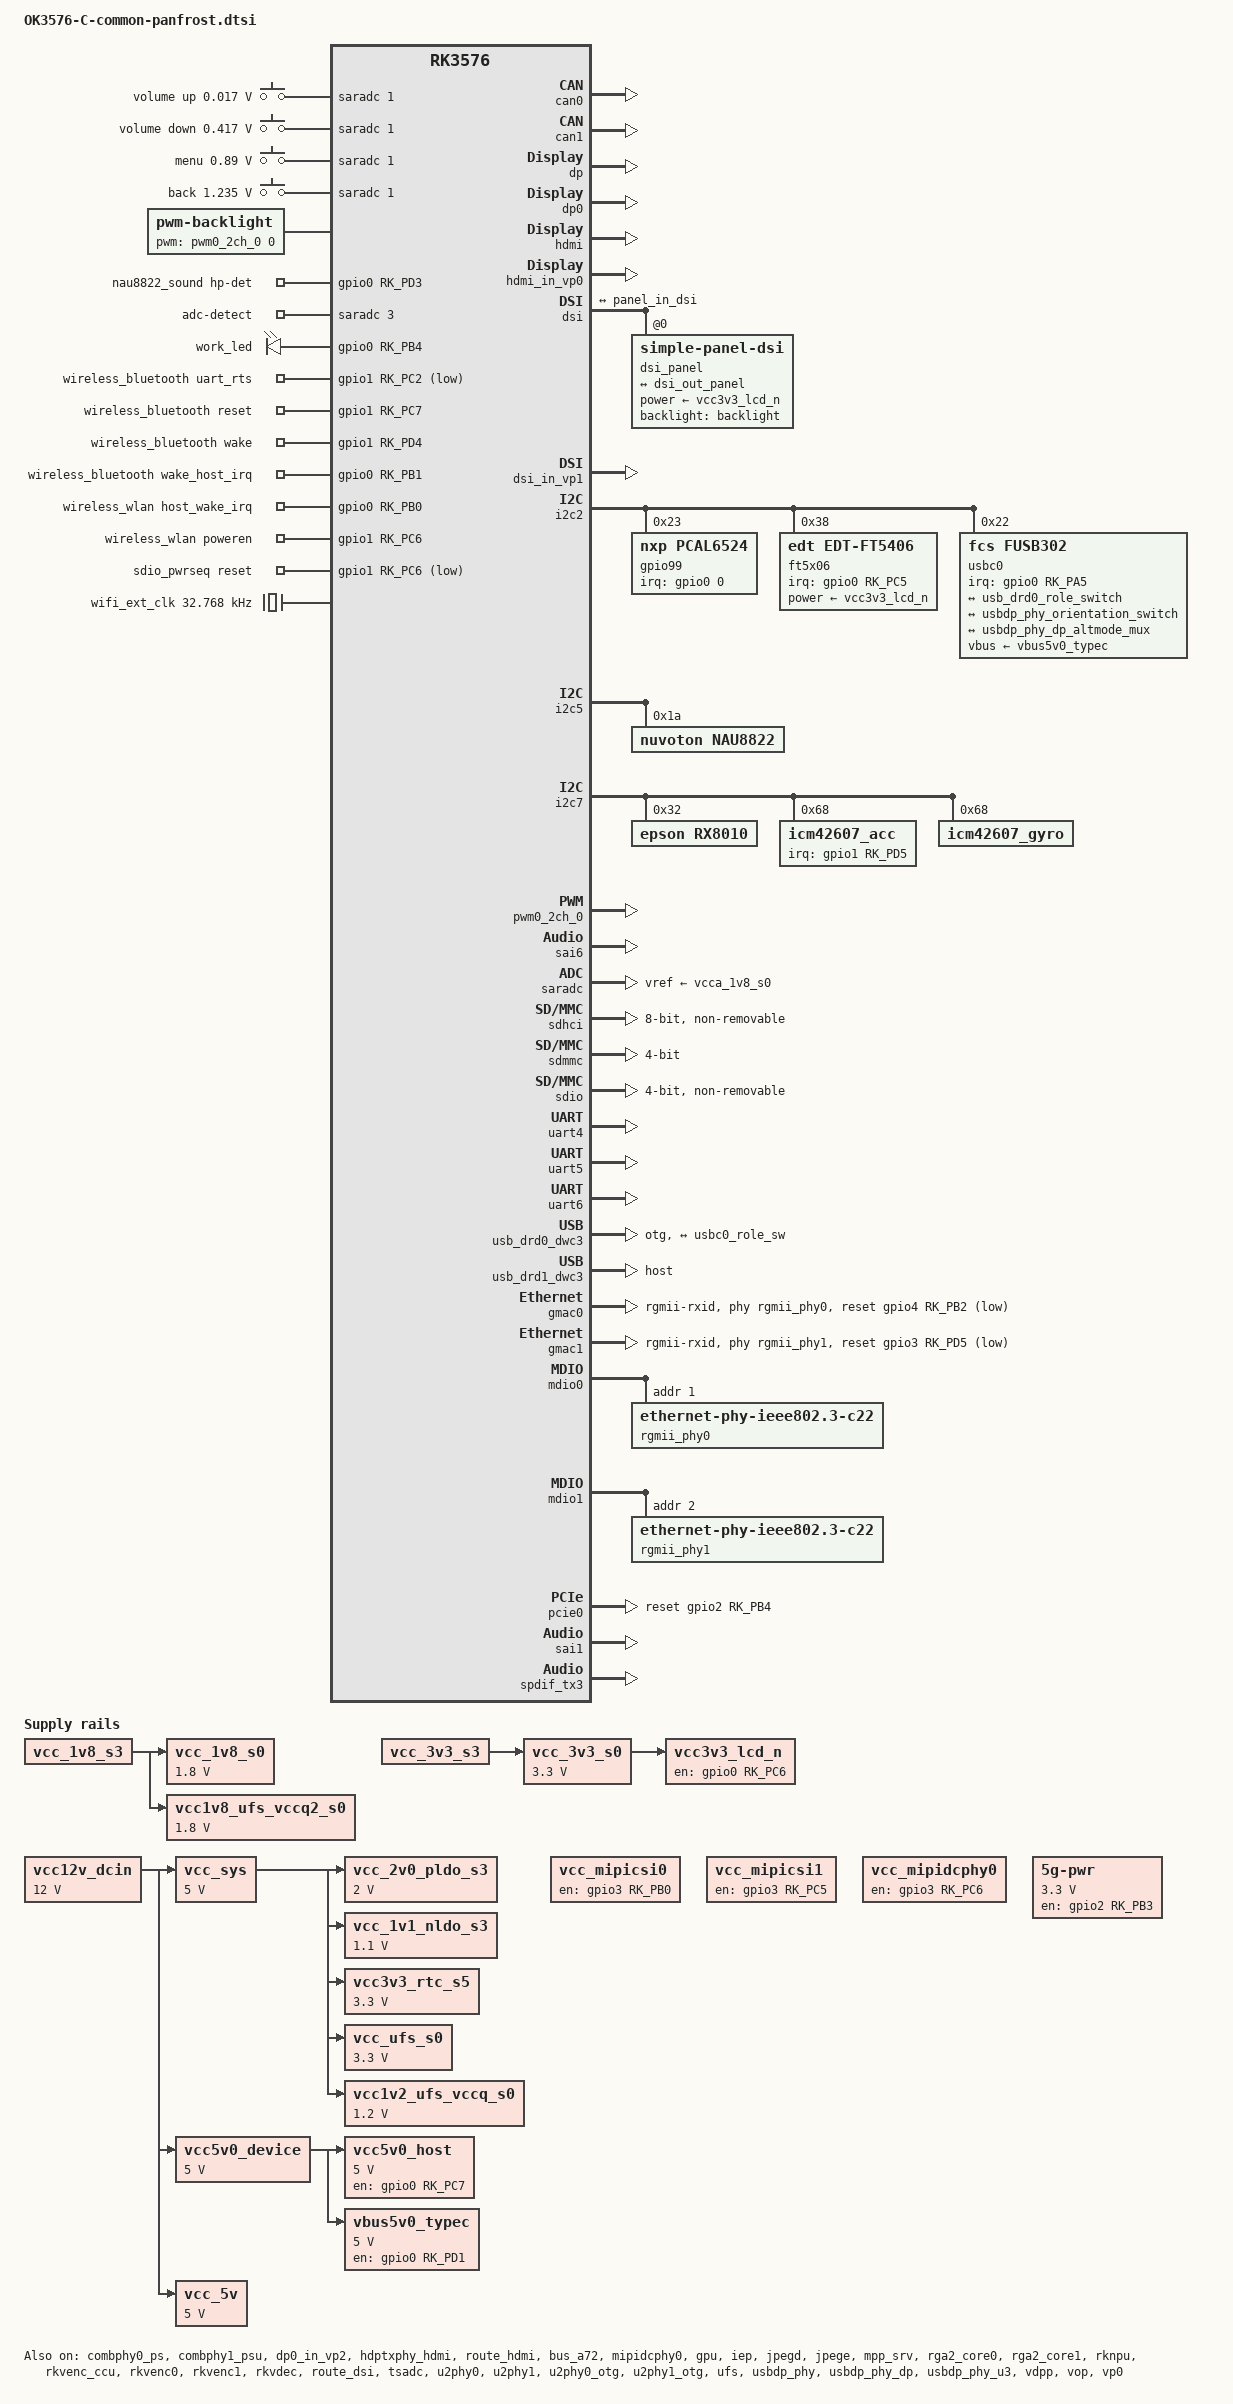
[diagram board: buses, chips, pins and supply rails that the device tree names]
// SPDX-License-Identifier: (GPL-2.0+ OR MIT)
/*
 * Copyright (c) 2024 Rockchip Electronics Co., Ltd.
 *
 */

#include <dt-bindings/usb/pd.h>
#include "rk3576_panfrost.dtsi"
#include <dt-bindings/gpio/gpio.h>
#include <dt-bindings/pwm/pwm.h>
#include <dt-bindings/pinctrl/rockchip.h>
#include <dt-bindings/input/rk-input.h>
#include <dt-bindings/display/drm_mipi_dsi.h>
#include <dt-bindings/display/rockchip_vop.h>
#include <dt-bindings/sensor-dev.h>
#include "rk3576-rk806.dtsi"

/ {
	adc_keys: adc-keys {
		compatible = "adc-keys";
		io-channels = <&saradc 1>;
		io-channel-names = "buttons";
		keyup-threshold-microvolt = <1800000>;
		poll-interval = <100>;

		vol-up-key {
			label = "volume up";
			linux,code = <KEY_VOLUMEUP>;
			press-threshold-microvolt = <17000>;
		};

		vol-down-key {
			label = "volume down";
			linux,code = <KEY_VOLUMEDOWN>;
			press-threshold-microvolt = <417000>;
		};

		menu-key {
			label = "menu";
			linux,code = <KEY_MENU>;
			press-threshold-microvolt = <890000>;
		};

		back-key {
			label = "back";
			linux,code = <KEY_BACK>;
			press-threshold-microvolt = <1235000>;
		};
	};

	backlight: backlight {
		compatible = "pwm-backlight";
		pwms = <&pwm0_2ch_0 0 25000 0>;
		brightness-levels = <
			  0  20  20  21  21  22  22  23
			 23  24  24  25  25  26  26  27
			 27  28  28  29  29  30  30  31
			 31  32  32  33  33  34  34  35
			 35  36  36  37  37  38  38  39
			 40  41  42  43  44  45  46  47
			 48  49  50  51  52  53  54  55
			 56  57  58  59  60  61  62  63
			 64  65  66  67  68  69  70  71
			 72  73  74  75  76  77  78  79
			 80  81  82  83  84  85  86  87
			 88  89  90  91  92  93  94  95
			 96  97  98  99 100 101 102 103
			104 105 106 107 108 109 110 111
			112 113 114 115 116 117 118 119
			120 121 122 123 124 125 126 127
			128 129 130 131 132 133 134 135
			136 137 138 139 140 141 142 143
			144 145 146 147 148 149 150 151
			152 153 154 155 156 157 158 159
			160 161 162 163 164 165 166 167
			168 169 170 171 172 173 174 175
			176 177 178 179 180 181 182 183
			184 185 186 187 188 189 190 191
			192 193 194 195 196 197 198 199
			200 201 202 203 204 205 206 207
			208 209 210 211 212 213 214 215
			216 217 218 219 220 221 222 223
			224 225 226 227 228 229 230 231
			232 233 234 235 236 237 238 239
			240 241 242 243 244 245 246 247
			248 249 250 251 252 253 254 255
		>;
		default-brightness-level = <200>;
	};

	dp0_sound: dp0-sound {
		status = "disabled";
		compatible = "rockchip,hdmi";
		rockchip,mclk-fs = <512>;
		rockchip,card-name = "rockchip-dp0";
		rockchip,cpu = <&spdif_tx3>;
		rockchip,codec = <&dp0 1>;
		rockchip,jack-det;
	};

	dp1_sound: dp1-sound {
		status = "disabled";
		compatible = "rockchip,hdmi";
		rockchip,mclk-fs = <512>;
		rockchip,card-name = "rockchip-dp1";
		rockchip,cpu = <&spdif_tx3>;
		rockchip,codec = <&dp1 1>;
		rockchip,jack-det;
	};

	dp2_sound: dp2-sound {
		status = "disabled";
		compatible = "rockchip,hdmi";
		rockchip,mclk-fs = <512>;
		rockchip,card-name = "rockchip-dp2";
		rockchip,cpu = <&spdif_tx3>;
		rockchip,codec = <&dp2 1>;
		rockchip,jack-det;
	};

	hdmi_sound: hdmi-sound {
		compatible = "rockchip,hdmi";
		rockchip,mclk-fs = <128>;
		rockchip,card-name = "rockchip-hdmi";
		rockchip,cpu = <&sai6>;
		rockchip,codec = <&hdmi>;
		rockchip,jack-det;
	};

	nau8822_sound: nau8822-sound {
		status = "okay";
		compatible = "rockchip,multicodecs-card";
		rockchip,card-name = "rockchip-nau8822";
		hp-det-gpio = <&gpio0 RK_PD3 GPIO_ACTIVE_HIGH>;
		io-channels = <&saradc 3>;
		io-channel-names = "adc-detect";
		keyup-threshold-microvolt = <1800000>;
		poll-interval = <100>;
		rockchip,format = "i2s";
		rockchip,mclk-fs = <256>;
		rockchip,cpu = <&sai1>;
		rockchip,codec = <&nau8822>;
		rockchip,audio-routing =
			"Headphone", "RHP",
			"Headphone", "LHP",
			"Speaker", "LSPK",
			"Speaker", "RSPK",
			"RMICP", "Main Mic",
			"RMICN", "Main Mic",
			"RMICP", "Headset Mic",
			"RMICN", "Headset Mic",
			"LMICP", "Main Mic",
			"LMICN", "Main Mic",
			"LMICP", "Headset Mic",
			"LMICN", "Headset Mic";
		pinctrl-names = "default";
		pinctrl-0 = <&hp_det>;
		play-pause-key {
			label = "playpause";
			linux,code = <KEY_PLAYPAUSE>;
			press-threshold-microvolt = <2000>;
			poll-interval = <1000>;
		};
	};

	pdmics: dummy-codec {
                status = "disabled";
                compatible = "rockchip,dummy-codec";
                #sound-dai-cells = <0>;
        };

        pdm_mic_array: pdm-mic-array {
                status = "disabled";
                compatible = "simple-audio-card";
                simple-audio-card,name = "rockchip,pdm-mic-array";
                simple-audio-card,cpu {
                        sound-dai = <&pdm1>;
                };
                simple-audio-card,codec {
                        sound-dai = <&pdmics>;
                };
        };

	leds: leds {
		compatible = "gpio-leds";
		work_led: work {
			gpios = <&gpio0 RK_PB4 GPIO_ACTIVE_HIGH>;
			linux,default-trigger = "heartbeat";
		};
	};

	test-power {
		status = "okay";
	};

	vcc12v_dcin: vcc12v-dcin {
		compatible = "regulator-fixed";
		regulator-name = "vcc12v_dcin";
		regulator-always-on;
		regulator-boot-on;
		regulator-min-microvolt = <12000000>;
		regulator-max-microvolt = <12000000>;
	};

	vcc_sys: vcc5v0-sys {
		compatible = "regulator-fixed";
		regulator-name = "vcc_sys";
		regulator-always-on;
		regulator-boot-on;
		regulator-min-microvolt = <5000000>;
		regulator-max-microvolt = <5000000>;
		vin-supply = <&vcc12v_dcin>;
	};

	vcc5v0_device: vcc5v0-device {
		compatible = "regulator-fixed";
		regulator-name = "vcc5v0_device";
		regulator-always-on;
		regulator-boot-on;
		regulator-min-microvolt = <5000000>;
		regulator-max-microvolt = <5000000>;
		vin-supply = <&vcc12v_dcin>;
	};

	vcc_2v0_pldo_s3: vcc-2v0-pldo-s3 {
		compatible = "regulator-fixed";
		regulator-name = "vcc_2v0_pldo_s3";
		regulator-boot-on;
		regulator-always-on;
		regulator-min-microvolt = <2000000>;
		regulator-max-microvolt = <2000000>;
		vin-supply = <&vcc_sys>;
	};

	vcc_1v1_nldo_s3: vcc-1v1-nldo-s3 {
		compatible = "regulator-fixed";
		regulator-name = "vcc_1v1_nldo_s3";
		regulator-boot-on;
		regulator-always-on;
		regulator-min-microvolt = <1100000>;
		regulator-max-microvolt = <1100000>;
		vin-supply = <&vcc_sys>;
	};

	vcc3v3_rtc_s5: vcc3v3-rtc-s5 {
		compatible = "regulator-fixed";
		regulator-name = "vcc3v3_rtc_s5";
		regulator-boot-on;
		regulator-always-on;
		regulator-min-microvolt = <3300000>;
		regulator-max-microvolt = <3300000>;
		vin-supply = <&vcc_sys>;
	};

	vcc_1v8_s0: vcc-1v8-s0 {
                compatible = "regulator-fixed";
                regulator-name = "vcc_1v8_s0";
                regulator-boot-on;
                regulator-always-on;
                regulator-min-microvolt = <1800000>;
                regulator-max-microvolt = <1800000>;
                vin-supply = <&vcc_1v8_s3>;
        };

        vcc_3v3_s0: vcc-3v3-s0 {
                compatible = "regulator-fixed";
                regulator-name = "vcc_3v3_s0";
                regulator-boot-on;
                regulator-always-on;
                regulator-min-microvolt = <3300000>;
                regulator-max-microvolt = <3300000>;
                vin-supply = <&vcc_3v3_s3>;
        };

	vcc_5v: vcc-5v {
		compatible = "regulator-fixed";
		regulator-name = "vcc_5v";
		regulator-boot-on;
		regulator-always-on;
		regulator-min-microvolt = <5000000>;
		regulator-max-microvolt = <5000000>;
		vin-supply = <&vcc12v_dcin>;
	};

	vcc_ufs_s0: vcc-ufs-s0 {
                compatible = "regulator-fixed";
                regulator-name = "vcc_ufs_s0";
                regulator-boot-on;
                regulator-always-on;
                regulator-min-microvolt = <3300000>;
                regulator-max-microvolt = <3300000>;
                vin-supply = <&vcc_sys>;
        };

        vcc1v8_ufs_vccq2_s0: vcc1v8-ufs-vccq2-s0 {
                compatible = "regulator-fixed";
                regulator-name = "vcc1v8_ufs_vccq2_s0";
                regulator-boot-on;
                regulator-always-on;
                regulator-min-microvolt = <1800000>;
                regulator-max-microvolt = <1800000>;
                vin-supply = <&vcc_1v8_s3>;
        };

        vcc1v2_ufs_vccq_s0: vcc1v2-ufs-vccq-s0 {
                compatible = "regulator-fixed";
                regulator-name = "vcc1v2_ufs_vccq_s0";
                regulator-boot-on;
                regulator-always-on;
                regulator-min-microvolt = <1200000>;
                regulator-max-microvolt = <1200000>;
                vin-supply = <&vcc_sys>;
        };

        vcc3v3_lcd_n: vcc3v3-lcd0-n {
                compatible = "regulator-fixed";
                regulator-name = "vcc3v3_lcd0_n";
                regulator-boot-on;
                enable-active-high;
                gpio = <&gpio0 RK_PC6 GPIO_ACTIVE_HIGH>;
                vin-supply = <&vcc_3v3_s0>;
        };


	vcc5v0_host: vcc5v0-host {
                compatible = "regulator-fixed";
                regulator-name = "vcc5v0_host";
                regulator-boot-on;
                regulator-always-on;
                regulator-min-microvolt = <5000000>;
                regulator-max-microvolt = <5000000>;
                enable-active-high;
                gpio = <&gpio0 RK_PC7 GPIO_ACTIVE_HIGH>;
                vin-supply = <&vcc5v0_device>;
                pinctrl-names = "default";
                pinctrl-0 = <&usb_host_pwren>;
        };

        vbus5v0_typec: vbus5v0-typec {
                compatible = "regulator-fixed";
                regulator-name = "vbus5v0_typec";
                regulator-min-microvolt = <5000000>;
                regulator-max-microvolt = <5000000>;
                enable-active-high;
                regulator-boot-on;
                regulator-always-on;
                gpio = <&gpio0 RK_PD1 GPIO_ACTIVE_HIGH>;
                vin-supply = <&vcc5v0_device>;
                pinctrl-names = "default";
                pinctrl-0 = <&usb_otg0_pwren>;
        };

        vcc_mipicsi0: vcc-mipicsi0-regulator {
                compatible = "regulator-fixed";
                gpio = <&gpio3 RK_PB0 GPIO_ACTIVE_HIGH>;
                pinctrl-names = "default";
                pinctrl-0 = <&mipicsi0_pwr>;
                regulator-name = "vcc_mipicsi0";
                enable-active-high;
        };

        vcc_mipicsi1: vcc-mipicsi1-regulator {
                compatible = "regulator-fixed";
                gpio = <&gpio3 RK_PC5 GPIO_ACTIVE_HIGH>;
                pinctrl-names = "default";
                pinctrl-0 = <&mipicsi1_pwr>;
                regulator-name = "vcc_mipicsi1";
                enable-active-high;
        };

	vcc_mipidcphy0: vcc-mipidcphy0-regulator {
                compatible = "regulator-fixed";
                gpio = <&gpio3 RK_PC6 GPIO_ACTIVE_HIGH>;
                pinctrl-names = "default";
                pinctrl-0 = <&mipidcphy0_pwr>;
                regulator-name = "vcc_mipidcphy0";
                enable-active-high;
        };

	wireless_bluetooth: wireless-bluetooth {
		compatible = "bluetooth-platdata";
		uart_rts_gpios = <&gpio1 RK_PC2 GPIO_ACTIVE_LOW>;
		pinctrl-names = "default", "rts_gpio";
		pinctrl-0 = <&uart4m1_rtsn>;
		pinctrl-1 = <&uart4_gpios>;
		BT,reset_gpio    = <&gpio1 RK_PC7 GPIO_ACTIVE_HIGH>;
		BT,wake_gpio     = <&gpio1 RK_PD4 GPIO_ACTIVE_HIGH>;
		BT,wake_host_irq = <&gpio0 RK_PB1 GPIO_ACTIVE_HIGH>;
		status = "okay";
	};

	wireless_wlan: wireless-wlan {
		compatible = "wlan-platdata";
		wifi_chip_type = "mvl88w8987";
		pinctrl-names = "default";
		pinctrl-0 = <&wifi_host_wake_irq>;
		WIFI,host_wake_irq = <&gpio0 RK_PB0 GPIO_ACTIVE_HIGH>;
		WIFI,poweren_gpio = <&gpio1 RK_PC6 GPIO_ACTIVE_HIGH>;
		status = "okay";
	};

	sdio_pwrseq: sdio-pwrseq {
                compatible = "mmc-pwrseq-simple";
                pinctrl-names = "default";
                pinctrl-0 = <&wifi_poweren_gpio>;

                /*
                 * On the module itself this is one of these (depending
                 * on the actual card populated):
                 * - SDIO_RESET_L_WL_REG_ON
                 * - PDN (power down when low)
                 */
                post-power-on-delay-ms = <200>;
                reset-gpios = <&gpio1 RK_PC6 GPIO_ACTIVE_LOW>;
                status = "okay";
        };

	wifi_ext_clk: wifi_ext_clk {
		compatible = "fixed-clock";
		clock-frequency = <32768>;
		clock-output-names = "wifi_ext_clk";
		#clock-cells = <0>;
	};

	5g-pwr {
		compatible = "regulator-fixed";
		regulator-name = "5g-pwr";
		regulator-min-microvolt = <3300000>;
		regulator-max-microvolt = <3300000>;
		gpio = <&gpio2 RK_PB3 GPIO_ACTIVE_HIGH>;
		enable-active-high;
		regulator-boot-on;
		regulator-always-on;
		pinctrl-names = "default";
		pinctrl-0 = <&net_5g_pwr_gpio>;
		status = "okay";
	};
};

&can0 {
	assigned-clocks = <&cru CLK_CAN0>;
	assigned-clock-rates = <200000000>;
	pinctrl-names = "default";
	pinctrl-0 = <&can0m2_pins>;
	status = "okay";
};

&can1 {
	assigned-clocks = <&cru CLK_CAN1>;
	assigned-clock-rates = <200000000>;
	pinctrl-names = "default";
	pinctrl-0 = <&can1m3_pins>;
	status = "okay";
};

&combphy0_ps {
	status = "okay";
};

&combphy1_psu {
	status = "okay";
};

&dp {
        status = "okay";
};

&dp0 {
        status = "okay";
};

&dp0_in_vp2 {
        status = "okay";
};

&dp0_sound {
        status = "okay";
};

&cpu_l0 {
	cpu-supply = <&vdd_cpu_lit_s0>;
};

&cpu_b0 {
	cpu-supply = <&vdd_cpu_big_s0>;
};

&display_subsystem {
	clocks = <&hdptxphy_hdmi>;
	clock-names = "hdmi0_phy_pll";
};

&hdmi {
        status = "okay";
        enable-gpios = <&gpio2 RK_PB0 GPIO_ACTIVE_HIGH>;
        rockchip,sda-falling-delay-ns = <360>;
};

&hdmi_in_vp0 {
        status = "okay";
};

&hdptxphy_hdmi {
        status = "okay";
};

&route_hdmi {
        status = "okay";
        connect = <&vp0_out_hdmi>;
};
&bus_a72 {
	bus-supply = <&vdd_logic_s0>;
	pvtm-supply = <&vdd_logic_s0>;
	status = "okay";
};

/*
 * mipidcphy0 needs to be enabled
 * when dsi is enabled
 */
&mipidcphy0 {
        status = "okay";
};

&dsi {
	status = "okay";
	//rockchip,lane-rate = <1000>;
	dsi_panel: panel@0 {
		status = "okay";
		compatible = "simple-panel-dsi";
		reg = <0>;
		power-supply = <&vcc3v3_lcd_n>;
		backlight = <&backlight>;
		reset-delay-ms = <10>;
		enable-delay-ms = <10>;
		prepare-delay-ms = <10>;
		unprepare-delay-ms = <10>;
		disable-delay-ms = <60>;
		width-mm = <68>;
		height-mm = <121>;
		dsi,flags = <(MIPI_DSI_MODE_VIDEO | MIPI_DSI_MODE_VIDEO_BURST |
				MIPI_DSI_MODE_LPM | MIPI_DSI_MODE_NO_EOT_PACKET)>;
		dsi,format = <MIPI_DSI_FMT_RGB888>;
		dsi,lanes  = <4>;
		panel-init-sequence = [
		];

		panel-exit-sequence = [
			05 00 01 28
			05 00 01 10
		];

		disp_timings0: display-timings {
			native-mode = <&dsi_timing0>;
			dsi_timing0: timing0 {
				clock-frequency = <45000000>;
				hactive = <1024>;
				vactive = <600>;
				hfront-porch = <40>;
				hsync-len = <48>;
				hback-porch = <48>;
				vfront-porch = <40>;
				vsync-len = <4>;
				vback-porch = <48>;
				hsync-active = <0>;
				vsync-active = <0>;
				de-active = <0>;
				pixelclk-active = <0>;
			};
		};

		ports {
			#address-cells = <1>;
			#size-cells = <0>;

			port@0 {
				reg = <0>;
				panel_in_dsi: endpoint {
					remote-endpoint = <&dsi_out_panel>;
				};
			};
		};
	};

	ports {
		#address-cells = <1>;
		#size-cells = <0>;

		port@1 {
			reg = <1>;
			dsi_out_panel: endpoint {
				remote-endpoint = <&panel_in_dsi>;
			};
		};
	};

};

&dsi_in_vp0 {
	status = "disabled";
};

&dsi_in_vp1 {
	status = "okay";
};

&dsi_in_vp2 {
	status = "disabled";
};

&dsi_in_vopl {
	status = "disabled";
};

&gpu {
	mali-supply = <&vdd_gpu_s0>;
	status = "okay";
};

&i2c2 {
	status = "okay";

	gpio99: gpio@23 {
		compatible = "nxp,pcal6524";
		reg = <0x23>;
		interrupt-parent = <&gpio0>;
		interrupts = <0 IRQ_TYPE_EDGE_FALLING>; /* gpio6_161 */
		interrupt-controller;
		#interrupt-cells = <2>;
		gpio-controller;
		#gpio-cells = <2>;
		status = "okay";
	};

	ft5x06: ft5x06@38{
		power-supply = <&vcc3v3_lcd_n>;
		compatible = "edt,edt-ft5406", "edt,edt-ft5x06";
		reg = <0x38>;
		pinctrl-names = "defaults";
		pinctrl-0 = <&ft5x06_int>;
		interrupt-parent = <&gpio0>;
		interrupts = <RK_PC5 IRQ_TYPE_EDGE_FALLING>;
		touchscreen-size-x = <1024>;
		touchscreen-size-y = <600>;
		status = "okay";
	};

	usbc0: fusb302@22 {
		compatible = "fcs,fusb302";
		reg = <0x22>;
		interrupt-parent = <&gpio0>;
		interrupts = <RK_PA5 IRQ_TYPE_LEVEL_LOW>;
		pinctrl-names = "default";
		pinctrl-0 = <&usbc0_int>;
		vbus-supply = <&vbus5v0_typec>;
		status = "okay";
		ports {
			#address-cells = <1>;
			#size-cells = <0>;

			port@0 {
				reg = <0>;
				usbc0_role_sw: endpoint {
					remote-endpoint = <&usb_drd0_role_switch>;
				};
			};
		};

        usb_con: connector {
            compatible = "usb-c-connector";
            label = "USB-C";
            data-role = "dual";
            power-role = "dual";
            try-power-role = "sink";
            op-sink-microwatt = <1000000>;
            sink-pdos =
				    <PDO_FIXED(5000, 1000, PDO_FIXED_USB_COMM)>;
            source-pdos =
                    <PDO_FIXED(5000, 3000, PDO_FIXED_USB_COMM)>;
			displayport = <&dp>;

            altmodes {
                #address-cells = <1>;
                #size-cells = <0>;

                altmode@0 {
					reg = <0>;
					svid = <0xff01>;
					vdo = <0xffffffff>;
                };
            };

            ports {
                #address-cells = <1>;
                #size-cells = <0>;

                port@0 {
					reg = <0>;
					usbc0_orien_sw: endpoint {
						remote-endpoint = <&usbdp_phy_orientation_switch>;
					};
                };

                port@1 {
                    reg = <1>;
                    dp_altmode_mux: endpoint {
                        remote-endpoint = <&usbdp_phy_dp_altmode_mux>;
                    };
                };
            };
        };
    };
};

&i2c5 {
	status = "okay";
	pinctrl-names = "default";
	pinctrl-0 = <&i2c5m3_xfer>;

	nau8822: nau8822@1a {
		#sound-dai-cells = <0>;
		compatible = "nuvoton,nau8822";
		reg = <0x1a>;
		clocks = <&mclkout_sai1>;
		clock-names = "mclk";
		assigned-clocks = <&mclkout_sai1>;
		assigned-clock-rates = <12288000>;
		pinctrl-names = "default";
		pinctrl-0 = <&sai1m0_mclk>;
		status = "okay";
	};
};

&i2c7 {
        status = "okay";
        pinctrl-names = "default";
        pinctrl-0 = <&i2c7m1_xfer>;

	rx8010:rx8010@32 {
		compatible = "epson,rx8010";
		reg = <0x32>;
		status = "okay";
	};

        icm42607_acc: icm_acc@68 {
                status = "okay";
                compatible = "icm42607_acc";
                reg = <0x68>;
                irq-gpio = <&gpio1 RK_PD5 IRQ_TYPE_EDGE_RISING>;
                irq_enable = <0>;
                poll_delay_ms = <30>;
                type = <SENSOR_TYPE_ACCEL>;
                layout = <4>;
        };

        icm42607_gyro: icm_gyro@68 {
                status = "okay";
                compatible = "icm42607_gyro";
                reg = <0x68>;
                poll_delay_ms = <30>;
                type = <SENSOR_TYPE_GYROSCOPE>;
                layout = <4>;
        };
};

&iep {
	status = "okay";
};

&iep_mmu {
	status = "okay";
};

&jpegd {
	status = "okay";
};

&jpege {
	status = "okay";
};

&jpeg_mmu {
	status = "okay";
};

&mpp_srv {
	status = "okay";
};

&pinctrl {
	touch {
		ft5x06_int: ft5x06-int {
			rockchip,pins =
				<0 RK_PC5 RK_FUNC_GPIO &pcfg_pull_up>,
				<0 RK_PD0 RK_FUNC_GPIO &pcfg_pull_up>;
		};
	};

	wireless-bluetooth {
		uart4_gpios: uart4-gpios {
			rockchip,pins = <1 RK_PC7 RK_FUNC_GPIO &pcfg_pull_none>;
		};
	};

	wireless-wlan {
		wifi_host_wake_irq: wifi-host-wake-irq {
			rockchip,pins = <0 RK_PB0 RK_FUNC_GPIO &pcfg_pull_down>;
		};

		wifi_poweren_gpio: wifi-poweren-gpio {
			rockchip,pins = <1 RK_PC6 RK_FUNC_GPIO &pcfg_pull_up>;
		};
	};

	5g {
		net_5g_rst_gpio: net_5g_rst_gpio {
			rockchip,pins = <3 RK_PD6 RK_FUNC_GPIO &pcfg_pull_none>;
		};

		net_5g_pwr_gpio: net_5g_pwr_gpio {
			rockchip,pins = <2 RK_PB3 RK_FUNC_GPIO &pcfg_pull_none>;
		};
	};

	cam {
                mipicsi0_pwr: mipicsi0-pwr {
                        rockchip,pins =
                                /* camera power en */
                                <3 RK_PB0 RK_FUNC_GPIO &pcfg_pull_none>;
                };

                mipicsi1_pwr: mipicsi1-pwr {
                        rockchip,pins =
                                /* camera power en */
                                <3 RK_PC5 RK_FUNC_GPIO &pcfg_pull_none>;
                };

                mipidcphy0_pwr: mipidcphy0-pwr {
                        rockchip,pins =
                                /* camera power en */
                                <3 RK_PC6 RK_FUNC_GPIO &pcfg_pull_none>;
                };
        };

        headphone {
                hp_det: hp-det {
                        rockchip,pins = <0 RK_PD3 RK_FUNC_GPIO &pcfg_pull_up>;
                };
        };

	usb {
                usb_host_pwren: usb-host-pwren {
                        rockchip,pins = <0 RK_PC7 RK_FUNC_GPIO &pcfg_pull_none>;
                };

                usb_otg0_pwren: usb-otg0-pwren {
                        rockchip,pins = <0 RK_PD1 RK_FUNC_GPIO &pcfg_pull_none>;
                };

                usbc0_int: usbc0-int {
                        rockchip,pins = <0 RK_PA5 RK_FUNC_GPIO &pcfg_pull_up>;
                };
        };
};

&pwm0_2ch_0 {
	status = "okay";
};

&rga2_core0 {
	status = "okay";
};

&rga2_core0_mmu {
	status = "okay";
};

&rga2_core1 {
	status = "okay";
};

&rga2_core1_mmu {
	status = "okay";
};

&rknpu {
	rknpu-supply = <&vdd_npu_s0>;
	status = "okay";
};

&rknpu_mmu {
	status = "okay";
};

&rkvenc_ccu {
	status = "okay";
};

&rkvenc0 {
	status = "okay";
};

&rkvenc0_mmu {
	status = "okay";
};

&rkvenc1 {
	status = "okay";
};

&rkvenc1_mmu {
	status = "okay";

};

&rkvdec {
	status = "okay";
};

&rkvdec_mmu {
	status = "okay";
};

&rockchip_suspend {
	status = "okay";
	rockchip,sleep-debug-en = <1>;

	rockchip,sleep-io-ret-config = <
		(0
		| RKPM_VCCIO3_RET_EN
		)
	>;
	 rockchip,regulator-on-before-mem = <&vdd_npu_s0>;
};

&route_dsi {
	status = "okay";
};

&sai6 {
	status = "okay";
};

&saradc {
	status = "okay";
	vref-supply = <&vcca_1v8_s0>;
};

&sdhci {
	bus-width = <8>;
	no-sdio;
	no-sd;
	non-removable;
	max-frequency = <200000000>;
	mmc-hs400-1_8v;
	mmc-hs400-enhanced-strobe;
	full-pwr-cycle-in-suspend;
	status = "okay";
};

&sdmmc {
	max-frequency = <200000000>;
	no-sdio;
	no-mmc;
	bus-width = <4>;
	cap-mmc-highspeed;
	cap-sd-highspeed;
	disable-wp;
	sd-uhs-sdr104;
	/delete-property/ rockchip,use-v2-tuning;
	vqmmc-supply = <&vccio_sd_s0>;
	status = "okay";
};

&sdio {
        max-frequency = <200000000>;
        no-sd;
        no-mmc;
        bus-width = <4>;
        disable-wp;
        cap-sd-highspeed;
        cap-sdio-irq;
        keep-power-in-suspend;
        mmc-pwrseq = <&sdio_pwrseq>;
        non-removable;
        pinctrl-names = "default";
        pinctrl-0 = <&sdmmc1m0_bus4 &sdmmc1m0_clk &sdmmc1m0_cmd>;
        sd-uhs-sdr104;
        status = "okay";
};

&tsadc {
	status = "okay";
};

&u2phy0 {
	status = "okay";
};

&u2phy1 {
	status = "okay";
};

&u2phy0_otg {
	status = "okay";
	rockchip,typec-vbus-det;
};

&u2phy1_otg {
	status = "okay";
	phy-supply = <&vcc5v0_host>;
};

&uart4 {
	status = "okay";
	pinctrl-names = "default";
	pinctrl-0 = <&uart4m1_xfer &uart4m1_ctsn>;
};

&uart5 {
	status = "okay";
	pinctrl-names = "default";
	pinctrl-0 = <&uart5m1_xfer>;
};

&uart6 {
	status = "okay";
	pinctrl-names = "default";
	pinctrl-0 = <&uart6m3_xfer>;
};

&ufs {
	status = "okay";
	reset-gpios = <&gpio4 RK_PD0 GPIO_ACTIVE_HIGH>;
};

&usbdp_phy {
	status = "okay";
	orientation-switch;
        svid = <0xff01>;
        sbu1-dc-gpios = <&gpio2 RK_PA6 GPIO_ACTIVE_HIGH>;
        sbu2-dc-gpios = <&gpio2 RK_PA7 GPIO_ACTIVE_HIGH>;

        port {
                #address-cells = <1>;
                #size-cells = <0>;

                usbdp_phy_orientation_switch: endpoint@0 {
                        reg = <0>;
                        remote-endpoint = <&usbc0_orien_sw>;
                };

                usbdp_phy_dp_altmode_mux: endpoint@1 {
                        reg = <1>;
                        remote-endpoint = <&dp_altmode_mux>;
                };
        };
};

&usbdp_phy_dp {
	status = "okay";
};

&usbdp_phy_u3 {
	status = "okay";
};

&usb_drd0_dwc3 {
	status = "okay";
	dr_mode = "otg";
        usb-role-switch;
        port {
                usb_drd0_role_switch: endpoint {
                        remote-endpoint = <&usbc0_role_sw>;
                };
        };
};

&usb_drd1_dwc3 {
        dr_mode = "host";
        status = "okay";
};

&vdpp {
	status = "okay";
};

&vop {
	status = "okay";
	/* vop-supply = <&vdd_logic_s0>; */
};

&vop_mmu {
	status = "okay";
};

&vp0 {
        status = "okay";
};

&vp2 {
	assigned-clocks = <&cru DCLK_VP2_SRC>;
	assigned-clock-parents = <&cru PLL_VPLL>;
};

&gmac0 {
        /* Use rgmii-rxid mode to disable rx delay inside Soc */
        phy-mode = "rgmii-rxid";
        clock_in_out = "output";

        snps,reset-gpio = <&gpio4 RK_PB2 GPIO_ACTIVE_LOW>;
        snps,reset-active-low;
        /* Reset time is 20ms, 100ms for rtl8211f */
        snps,reset-delays-us = <0 20000 100000>;

        pinctrl-names = "default";
        pinctrl-0 = <&eth0m0_miim
                     &eth0m0_tx_bus2
                     &eth0m0_rx_bus2
                     &eth0m0_rgmii_clk
                     &eth0m0_rgmii_bus
                     &ethm0_clk0_25m_out>;

        tx_delay = <0x21>;
        /* rx_delay = <0x3f>; */

        phy-handle = <&rgmii_phy0>;
        status = "okay";
};

&gmac1 {
        /* Use rgmii-rxid mode to disable rx delay inside Soc */
        phy-mode = "rgmii-rxid";
        clock_in_out = "output";

        snps,reset-gpio = <&gpio3 RK_PD5 GPIO_ACTIVE_LOW>;
        snps,reset-active-low;
        /* Reset time is 20ms, 100ms for rtl8211f */
        snps,reset-delays-us = <0 20000 100000>;

        pinctrl-names = "default";
        pinctrl-0 = <&eth1m0_miim
                     &eth1m0_tx_bus2
                     &eth1m0_rx_bus2
                     &eth1m0_rgmii_clk
                     &eth1m0_rgmii_bus
                     &ethm0_clk1_25m_out>;

        tx_delay = <0x20>;
        /* rx_delay = <0x3f>; */

        phy-handle = <&rgmii_phy1>;
        status = "okay";
};

&mdio0 {
        rgmii_phy0: phy@1 {
                compatible = "ethernet-phy-ieee802.3-c22";
                reg = <0x1>;
                clocks = <&cru REFCLKO25M_GMAC0_OUT>;
        };
};

&mdio1 {
        rgmii_phy1: phy@2 {
                compatible = "ethernet-phy-ieee802.3-c22";
                reg = <0x2>;
                clocks = <&cru REFCLKO25M_GMAC1_OUT>;
        };
};

&pcie0 {
	reset-gpios = <&gpio2 RK_PB4 GPIO_ACTIVE_HIGH>;
	rockchip,skip-scan-in-resume;
	pinctrl-names = "default";
	status = "okay";
};

&pdm1 {
        status = "disabled";
        pinctrl-names = "default";
        pinctrl-0 = <&pdm1m1_clk0
                     &pdm1m1_clk1
                     &pdm1m1_sdi0
                     &pdm1m1_sdi1
                     &pdm1m1_sdi2
                     &pdm1m1_sdi3>;
};

&sai1 {
        status = "okay";
        pinctrl-names = "default";
        pinctrl-0 = <&sai1m0_lrck
                     &sai1m0_sclk
                     &sai1m0_sdi0
                     &sai1m0_sdo0>;
};

&spdif_tx3 {
        status = "okay";
};
